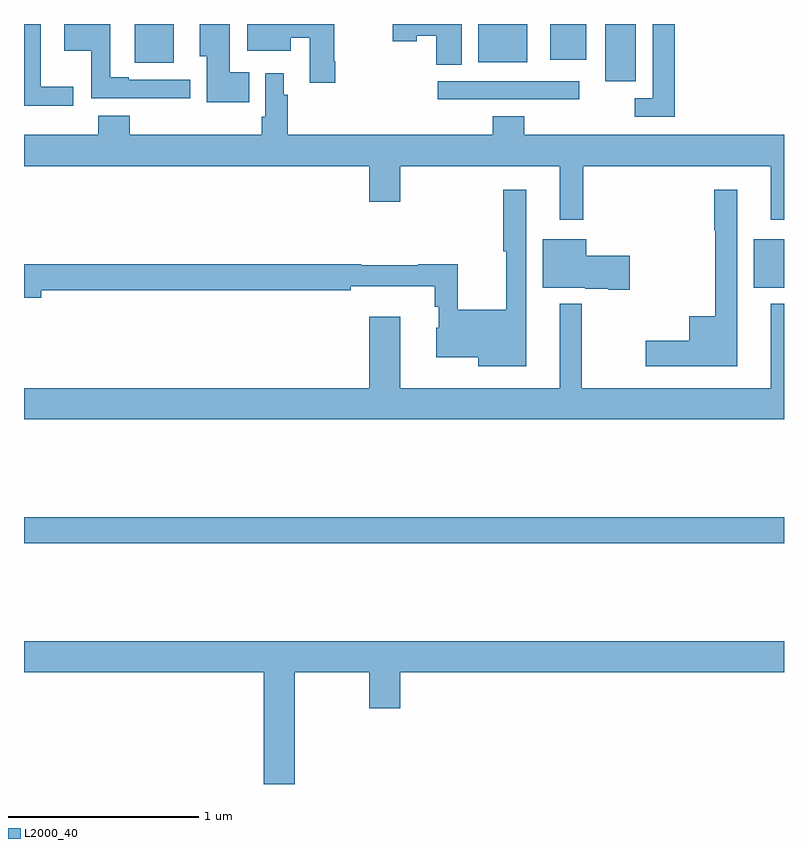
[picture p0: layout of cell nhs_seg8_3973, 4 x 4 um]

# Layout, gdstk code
import gdstk
lib = gdstk.Library(unit=1e-6, precision=1e-09)
def R(c, l, rs):  # rectangles x0, y0, x1, y1
    for r in rs: c.add(gdstk.rectangle(r[:2], r[2:], *l))
def P(c, l, *ps):  # polygons
    for p in ps: c.add(gdstk.Polygon(p, *l))
L2000_40 = (2000, 40)

nhs_seg8_3973 = lib.new_cell('nhs_seg8_3973')
R(nhs_seg8_3973, L2000_40, [(355,1129.168,359,1129.304), (358.841,1130.513,359,1130.767), (357.177,1131.504,357.922,1131.6), (358.058,1131.599,358.219,1131.9), (355.583,1131.695,355.789,1131.9), (357.392,1131.698,357.649,1131.9), (357.77,1131.713,357.958,1131.9)])
P(nhs_seg8_3973, L2000_40, [(358.424,1131.9),(358.308,1131.9),(358.308,1131.508),(358.215,1131.508),(358.215,1131.411),(358.424,1131.411)],
  [(357.304,1131.9),(356.941,1131.9),(356.941,1131.809),(357.066,1131.809),(357.066,1131.839),(357.17,1131.839),(357.17,1131.685),(357.304,1131.685)],
  [(356.186,1131.646),(356.083,1131.646),(356.083,1131.9),(355.925,1131.9),(355.925,1131.73),(355.961,1131.73),(355.961,1131.488),(356.186,1131.488)],
  [(356.639,1131.703),(356.634,1131.703),(356.634,1131.9),(356.174,1131.9),(356.174,1131.758),(356.404,1131.758),(356.404,1131.827),(356.504,1131.827),(356.504,1131.591),(356.639,1131.591)],
  [(355.876,1131.606),(355.552,1131.606),(355.552,1131.619),(355.455,1131.619),(355.455,1131.9),(355.212,1131.9),(355.212,1131.758),(355.354,1131.758),(355.354,1131.51),(355.639,1131.51),(355.639,1131.509),(355.876,1131.509)],
  [(355.258,1131.569),(355.087,1131.569),(355.087,1131.9),(355,1131.9),(355,1131.47),(355.258,1131.47)],
  [(357.943,1131.152),(358.931,1131.152),(358.931,1130.871),(359,1130.871),(359,1131.316),(357.632,1131.316),(357.632,1131.415),(357.467,1131.415),(357.467,1131.316),(356.387,1131.316),(356.387,1131.527),(356.368,1131.527),(356.368,1131.64),(356.271,1131.64),(356.271,1131.412),(356.251,1131.412),(356.251,1131.316),(355.556,1131.316),(355.556,1131.418),(355.391,1131.418),(355.391,1131.316),(355,1131.316),(355,1131.152),(356.816,1131.152),(356.816,1130.964),(356.98,1130.964),(356.98,1131.152),(357.821,1131.152),(357.821,1130.871),(357.943,1130.871)],
  [(358.753,1131.028),(358.632,1131.028),(358.632,1130.815),(358.639,1130.815),(358.639,1130.362),(358.502,1130.362),(358.502,1130.234),(358.272,1130.234),(358.272,1130.099),(358.753,1130.099)],
  [(357.643,1131.028),(357.522,1131.028),(357.522,1130.703),(357.537,1130.703),(357.537,1130.395),(357.284,1130.395),(357.284,1130.636),(357.076,1130.636),(357.076,1130.629),(356.776,1130.629),(356.776,1130.636),(355,1130.636),(355,1130.458),(355.09,1130.458),(355.09,1130.5),(356.72,1130.5),(356.72,1130.519),(357.163,1130.519),(357.163,1130.412),(357.182,1130.412),(357.182,1130.301),(357.17,1130.301),(357.17,1130.147),(357.392,1130.147),(357.392,1130.099),(357.643,1130.099)],
  [(358.189,1130.679),(357.958,1130.679),(357.958,1130.767),(357.731,1130.767),(357.731,1130.513),(357.954,1130.513),(357.954,1130.507),(358.076,1130.507),(358.076,1130.501),(358.189,1130.501)],
  [(359,1130.428),(358.931,1130.428),(358.931,1129.984),(357.935,1129.984),(357.935,1130.428),(357.821,1130.428),(357.821,1129.984),(356.98,1129.984),(356.98,1130.359),(356.816,1130.359),(356.816,1129.984),(355,1129.984),(355,1129.82),(359,1129.82)],
  [(356.425,1128.488),(356.816,1128.488),(356.816,1128.3),(356.98,1128.3),(356.98,1128.488),(359,1128.488),(359,1128.652),(355,1128.652),(355,1128.488),(356.261,1128.488),(356.261,1127.9),(356.425,1127.9)])

lib.write_gds('nhs_seg8_3973.gds')
